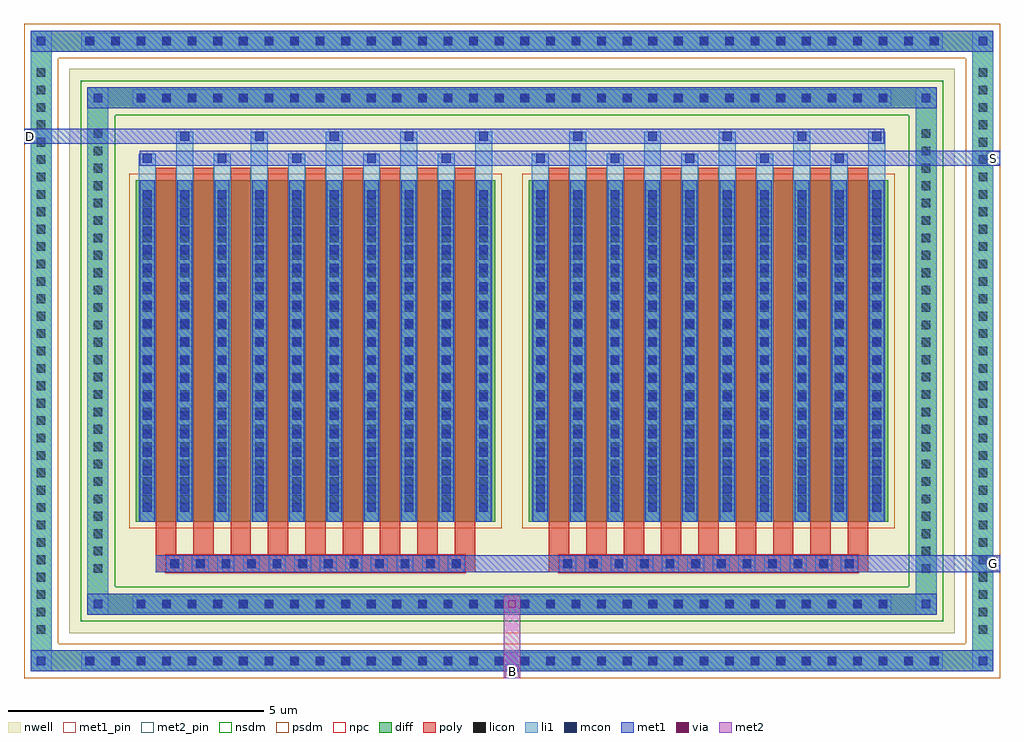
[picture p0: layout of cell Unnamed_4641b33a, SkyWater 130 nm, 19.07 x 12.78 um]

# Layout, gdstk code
import gdstk
lib = gdstk.Library(unit=1e-6, precision=5e-09)
def R(c, l, rs):  # rectangles x0, y0, x1, y1
    for r in rs: c.add(gdstk.rectangle(r[:2], r[2:], *l))
def A(c, l, x, y, w, h, nx, ny, dx, dy):  # array of equal rectangles
    R(c, l, [(x+i*dx, y+j*dy, x+i*dx+w, y+j*dy+h) for i in range(nx) for j in range(ny)])
def P(c, l, *ps):  # polygons
    for p in ps: c.add(gdstk.Polygon(p, *l))
nwell = (64, 20)
diff = (65, 20)
poly = (66, 20)
licon = (66, 44)
li1 = (67, 20)
mcon = (67, 44)
met1_pin = (68, 16)
met1 = (68, 20)
via = (68, 44)
met2_pin = (69, 16)
met2 = (69, 20)
nsdm = (93, 44)
psdm = (94, 20)
npc = (95, 20)

unnamed_4641b33a = lib.new_cell('Unnamed_4641b33a')
R(unnamed_4641b33a, nwell, [(-8.655,-5.51,8.655,5.51), (-8.475,-5.33,8.475,5.33)])
A(unnamed_4641b33a, diff, -8.455, -6.26, 0.41, 0.41, 34, 2, 0.5, 12.11)
A(unnamed_4641b33a, diff, -9.405, -5.645, 0.41, 0.41, 1, 33, 0, 0.34)
A(unnamed_4641b33a, diff, 8.995, -5.645, 0.41, 0.41, 1, 33, 0, 0.34)
A(unnamed_4641b33a, diff, -7.455, -5.15, 0.41, 0.41, 30, 2, 0.5, 9.89)
A(unnamed_4641b33a, diff, -8.295, -4.455, 0.41, 0.41, 1, 26, 0, 0.34)
A(unnamed_4641b33a, diff, 7.885, -4.455, 0.41, 0.41, 1, 26, 0, 0.34)
R(unnamed_4641b33a, diff, [(-8.455,-6.26,8.455,-5.85), (-9.405,-5.645,-8.995,5.645), (8.995,-5.645,9.405,5.645), (-7.455,-5.15,7.455,-4.74), (-8.295,-4.455,-7.885,4.455), (7.885,-4.455,8.295,4.455), (-7.35,-3.335,-0.33,3.335), (0.33,-3.335,7.35,3.335), (-7.455,4.74,7.455,5.15), (-8.455,5.85,8.455,6.26)])
P(unnamed_4641b33a, diff, [(9.405,6.26),(-9.405,6.26),(-9.405,-5.85),(-8.995,-5.85),(-8.995,5.85),(8.995,5.85),(8.995,-5.85),(-8.995,-5.85),(-9.405,-5.85),(-9.405,-6.26),(9.405,-6.26)],
  [(8.295,5.15),(-8.295,5.15),(-8.295,-4.74),(-7.885,-4.74),(-7.885,4.74),(7.885,4.74),(7.885,-4.74),(-7.885,-4.74),(-8.295,-4.74),(-8.295,-5.15),(8.295,-5.15)])
A(unnamed_4641b33a, poly, -6.755, -4.32, 0.33, 0.33, 12, 1, 0.5, 0)
A(unnamed_4641b33a, poly, 0.925, -4.32, 0.33, 0.33, 12, 1, 0.5, 0)
A(unnamed_4641b33a, poly, -6.96, -3.99, 0.4, 0.405, 9, 1, 0.73, 0)
A(unnamed_4641b33a, poly, 0.72, -3.99, 0.4, 0.405, 9, 1, 0.73, 0)
A(unnamed_4641b33a, poly, -6.96, -3.585, 0.4, 7.17, 9, 1, 0.73, 0)
A(unnamed_4641b33a, poly, 0.72, -3.585, 0.4, 7.17, 9, 1, 0.73, 0)
R(unnamed_4641b33a, poly, [(-6.96,-4.32,-0.72,-3.99), (0.72,-4.32,6.96,-3.99)])
A(unnamed_4641b33a, licon, -8.335, -6.14, 0.17, 0.17, 34, 2, 0.5, 12.11)
A(unnamed_4641b33a, licon, -9.285, -5.525, 0.17, 0.17, 1, 33, 0, 0.34)
A(unnamed_4641b33a, licon, 9.115, -5.525, 0.17, 0.17, 1, 33, 0, 0.34)
A(unnamed_4641b33a, licon, -7.335, -5.03, 0.17, 0.17, 30, 2, 0.5, 9.89)
A(unnamed_4641b33a, licon, -8.175, -4.335, 0.17, 0.17, 1, 26, 0, 0.34)
A(unnamed_4641b33a, licon, 8.005, -4.335, 0.17, 0.17, 1, 26, 0, 0.34)
A(unnamed_4641b33a, licon, -6.675, -4.24, 0.17, 0.17, 12, 1, 0.5, 0)
A(unnamed_4641b33a, licon, 1.005, -4.24, 0.17, 0.17, 12, 1, 0.5, 0)
A(unnamed_4641b33a, licon, -7.21, -2.975, 0.17, 0.17, 10, 18, 0.73, 0.34)
A(unnamed_4641b33a, licon, 0.47, -2.975, 0.17, 0.17, 10, 18, 0.73, 0.34)
A(unnamed_4641b33a, li1, -8.415, -6.22, 0.33, 0.33, 34, 2, 0.5, 12.11)
A(unnamed_4641b33a, li1, -9.365, -5.605, 0.33, 0.33, 1, 33, 0, 0.34)
A(unnamed_4641b33a, li1, 9.035, -5.605, 0.33, 0.33, 1, 33, 0, 0.34)
A(unnamed_4641b33a, li1, -7.415, -5.11, 0.33, 0.33, 30, 2, 0.5, 9.89)
A(unnamed_4641b33a, li1, -8.255, -4.415, 0.33, 0.33, 1, 26, 0, 0.34)
A(unnamed_4641b33a, li1, 7.925, -4.415, 0.33, 0.33, 1, 26, 0, 0.34)
A(unnamed_4641b33a, li1, -6.755, -4.32, 0.33, 0.33, 12, 1, 0.5, 0)
A(unnamed_4641b33a, li1, 0.925, -4.32, 0.33, 0.33, 12, 1, 0.5, 0)
A(unnamed_4641b33a, li1, -7.29, -3.335, 0.33, 6.67, 10, 1, 0.73, 0)
A(unnamed_4641b33a, li1, 0.39, -3.335, 0.33, 6.67, 10, 1, 0.73, 0)
A(unnamed_4641b33a, li1, -7.21, -3.145, 0.17, 0.17, 10, 18, 0.73, 0.36)
A(unnamed_4641b33a, li1, -7.21, -3.145, 0.17, 6.29, 10, 1, 0.73, 0)
A(unnamed_4641b33a, li1, 0.47, -3.145, 0.17, 0.17, 10, 18, 0.73, 0.36)
A(unnamed_4641b33a, li1, 0.47, -3.145, 0.17, 6.29, 10, 1, 0.73, 0)
A(unnamed_4641b33a, li1, -7.29, -3.055, 0.33, 0.33, 10, 18, 0.73, 0.34)
A(unnamed_4641b33a, li1, 0.39, -3.055, 0.33, 0.33, 10, 18, 0.73, 0.34)
A(unnamed_4641b33a, li1, -7.29, 3.335, 0.33, 0.515, 5, 1, 1.46, 0)
A(unnamed_4641b33a, li1, -6.56, 3.335, 0.33, 0.945, 5, 1, 1.46, 0)
A(unnamed_4641b33a, li1, 0.39, 3.335, 0.33, 0.515, 5, 1, 1.46, 0)
A(unnamed_4641b33a, li1, 1.12, 3.335, 0.33, 0.945, 5, 1, 1.46, 0)
A(unnamed_4641b33a, li1, -7.21, 3.68, 0.17, 0.17, 5, 1, 1.46, 0)
A(unnamed_4641b33a, li1, 0.47, 3.68, 0.17, 0.17, 5, 1, 1.46, 0)
A(unnamed_4641b33a, li1, -6.48, 4.11, 0.17, 0.17, 5, 1, 1.46, 0)
A(unnamed_4641b33a, li1, 1.2, 4.11, 0.17, 0.17, 5, 1, 1.46, 0)
R(unnamed_4641b33a, li1, [(-9.405,-6.26,-8.995,-5.85), (8.995,-6.26,9.405,-5.85), (-8.415,-6.22,8.415,-5.89), (-9.285,-6.14,-9.115,-5.97), (-9.285,-6.14,-9.115,-5.97), (9.115,-6.14,9.285,-5.97), (9.115,-6.14,9.285,-5.97), (-9.405,-5.85,-8.995,5.85), (8.995,-5.85,9.405,5.85), (-8.295,-5.15,-7.885,-4.74), (7.885,-5.15,8.295,-4.74), (-7.415,-5.11,7.415,-4.78), (-8.175,-5.03,-8.005,-4.86), (-8.175,-5.03,-8.005,-4.86), (8.005,-5.03,8.175,-4.86), (8.005,-5.03,8.175,-4.86), (-8.295,-4.74,-7.885,4.74), (7.885,-4.74,8.295,4.74), (-8.295,4.74,-7.885,5.15), (7.885,4.74,8.295,5.15), (-7.415,4.78,7.415,5.11), (-8.175,4.86,-8.005,5.03), (-8.175,4.86,-8.005,5.03), (8.005,4.86,8.175,5.03), (8.005,4.86,8.175,5.03), (-9.405,5.85,-8.995,6.26), (8.995,5.85,9.405,6.26), (-8.415,5.89,8.415,6.22), (-9.285,5.97,-9.115,6.14), (-9.285,5.97,-9.115,6.14), (9.115,5.97,9.285,6.14), (9.115,5.97,9.285,6.14)])
A(unnamed_4641b33a, mcon, -8.335, -6.14, 0.17, 0.17, 34, 2, 0.5, 12.11)
A(unnamed_4641b33a, mcon, -7.335, -5.03, 0.17, 0.17, 30, 2, 0.5, 9.89)
A(unnamed_4641b33a, mcon, -6.675, -4.24, 0.17, 0.17, 12, 1, 0.5, 0)
A(unnamed_4641b33a, mcon, 1.005, -4.24, 0.17, 0.17, 12, 1, 0.5, 0)
A(unnamed_4641b33a, mcon, -7.21, -3.145, 0.17, 0.17, 10, 18, 0.73, 0.36)
A(unnamed_4641b33a, mcon, 0.47, -3.145, 0.17, 0.17, 10, 18, 0.73, 0.36)
A(unnamed_4641b33a, mcon, -7.21, 3.68, 0.17, 0.17, 5, 1, 1.46, 0)
A(unnamed_4641b33a, mcon, 0.47, 3.68, 0.17, 0.17, 5, 1, 1.46, 0)
A(unnamed_4641b33a, mcon, -6.48, 4.11, 0.17, 0.17, 5, 1, 1.46, 0)
A(unnamed_4641b33a, mcon, 1.2, 4.11, 0.17, 0.17, 5, 1, 1.46, 0)
R(unnamed_4641b33a, mcon, [(-9.285,-6.14,-9.115,-5.97), (9.115,-6.14,9.285,-5.97), (-8.175,-5.03,-8.005,-4.86), (8.005,-5.03,8.175,-4.86), (-8.175,4.86,-8.005,5.03), (8.005,4.86,8.175,5.03), (-9.285,5.97,-9.115,6.14), (9.115,5.97,9.285,6.14)])
R(unnamed_4641b33a, met1_pin, [(9.265,-4.29,9.535,-4.02), (9.265,3.63,9.535,3.9), (-9.535,4.06,-9.265,4.33)])
A(unnamed_4641b33a, met1, -8.395, -6.2, 0.29, 0.29, 34, 2, 0.5, 12.11)
A(unnamed_4641b33a, met1, -7.395, -5.09, 0.29, 0.29, 30, 2, 0.5, 9.89)
A(unnamed_4641b33a, met1, -6.735, -4.3, 0.29, 0.29, 12, 1, 0.5, 0)
A(unnamed_4641b33a, met1, 0.945, -4.3, 0.29, 0.29, 12, 1, 0.5, 0)
A(unnamed_4641b33a, met1, -7.27, -3.335, 0.29, 6.67, 10, 1, 0.73, 0)
A(unnamed_4641b33a, met1, 0.41, -3.335, 0.29, 6.67, 10, 1, 0.73, 0)
A(unnamed_4641b33a, met1, -7.27, -3.205, 0.29, 0.29, 10, 18, 0.73, 0.36)
A(unnamed_4641b33a, met1, 0.41, -3.205, 0.29, 0.29, 10, 18, 0.73, 0.36)
A(unnamed_4641b33a, met1, -7.27, 3.62, 0.29, 0.29, 5, 1, 1.46, 0)
A(unnamed_4641b33a, met1, 0.41, 3.62, 0.29, 0.29, 5, 1, 1.46, 0)
A(unnamed_4641b33a, met1, -6.54, 4.05, 0.29, 0.29, 5, 1, 1.46, 0)
A(unnamed_4641b33a, met1, 1.14, 4.05, 0.29, 0.29, 5, 1, 1.46, 0)
R(unnamed_4641b33a, met1, [(-9.405,-6.26,-8.995,-5.85), (-9.405,-6.26,-8.995,-5.85), (-8.995,-6.26,8.995,-5.85), (8.995,-6.26,9.405,-5.85), (8.995,-6.26,9.405,-5.85), (-9.345,-6.2,-9.055,-5.91), (9.055,-6.2,9.345,-5.91), (-8.295,-5.15,-7.885,-4.74), (-8.295,-5.15,-7.885,-4.74), (-7.885,-5.15,7.885,-4.74), (7.885,-5.15,8.295,-4.74), (7.885,-5.15,8.295,-4.74), (-8.235,-5.09,-7.945,-4.8), (7.945,-5.09,8.235,-4.8), (-6.96,-4.32,-0.72,-3.99), (-0.72,-4.32,0.72,-3.99), (0.72,-4.32,6.96,-3.99), (6.96,-4.32,9.535,-3.99), (-7.27,3.62,-0.41,3.91), (-0.41,3.62,0.41,3.91), (0.41,3.62,7.27,3.91), (7.27,3.62,9.535,3.91), (-9.535,4.05,-7.27,4.34), (-7.27,4.05,-0.41,4.34), (-0.41,4.05,0.41,4.34), (0.41,4.05,7.27,4.34), (-8.295,4.74,-7.885,5.15), (-8.295,4.74,-7.885,5.15), (-7.885,4.74,7.885,5.15), (7.885,4.74,8.295,5.15), (7.885,4.74,8.295,5.15), (-8.235,4.8,-7.945,5.09), (7.945,4.8,8.235,5.09), (-9.405,5.85,-8.995,6.26), (-9.405,5.85,-8.995,6.26), (-8.995,5.85,8.995,6.26), (8.995,5.85,9.405,6.26), (8.995,5.85,9.405,6.26), (-9.345,5.91,-9.055,6.2), (9.055,5.91,9.345,6.2)])
R(unnamed_4641b33a, via, [(-0.075,-5.02,0.075,-4.87)])
R(unnamed_4641b33a, met2_pin, [(-0.135,-6.39,0.135,-6.12)])
R(unnamed_4641b33a, met2, [(-0.165,-6.39,0.165,-4.78), (-0.165,-5.11,0.165,-4.78)])
P(unnamed_4641b33a, nsdm, [(8.425,5.28),(-8.425,5.28),(-8.425,-4.61),(-7.755,-4.61),(-7.755,4.61),(7.755,4.61),(7.755,-4.61),(-7.755,-4.61),(-8.425,-4.61),(-8.425,-5.28),(8.425,-5.28)])
R(unnamed_4641b33a, psdm, [(-7.48,-3.465,-0.2,3.465), (0.2,-3.465,7.48,3.465)])
P(unnamed_4641b33a, psdm, [(9.535,6.39),(-9.535,6.39),(-9.535,-5.72),(-8.865,-5.72),(-8.865,5.72),(8.865,5.72),(8.865,-5.72),(-8.865,-5.72),(-9.535,-5.72),(-9.535,-6.39),(9.535,-6.39)])
A(unnamed_4641b33a, npc, -6.775, -4.34, 0.37, 0.37, 12, 1, 0.5, 0)
A(unnamed_4641b33a, npc, 0.905, -4.34, 0.37, 0.37, 12, 1, 0.5, 0)
R(unnamed_4641b33a, npc, [(-6.775,-4.34,-5.905,-3.97), (-6.775,-4.34,-5.905,-3.97), (-6.275,-4.34,-5.405,-3.97), (-6.275,-4.34,-5.405,-3.97), (-5.775,-4.34,-4.905,-3.97), (-5.775,-4.34,-4.905,-3.97), (-5.275,-4.34,-4.405,-3.97), (-5.275,-4.34,-4.405,-3.97), (-4.775,-4.34,-3.905,-3.97), (-4.775,-4.34,-3.905,-3.97), (-4.275,-4.34,-3.405,-3.97), (-4.275,-4.34,-3.405,-3.97), (-3.775,-4.34,-2.905,-3.97), (-3.775,-4.34,-2.905,-3.97), (-3.275,-4.34,-2.405,-3.97), (-3.275,-4.34,-2.405,-3.97), (-2.775,-4.34,-1.905,-3.97), (-2.775,-4.34,-1.905,-3.97), (-2.275,-4.34,-1.405,-3.97), (-2.275,-4.34,-1.405,-3.97), (-1.775,-4.34,-0.905,-3.97), (-1.775,-4.34,-0.905,-3.97), (0.905,-4.34,1.775,-3.97), (0.905,-4.34,1.775,-3.97), (1.405,-4.34,2.275,-3.97), (1.405,-4.34,2.275,-3.97), (1.905,-4.34,2.775,-3.97), (1.905,-4.34,2.775,-3.97), (2.405,-4.34,3.275,-3.97), (2.405,-4.34,3.275,-3.97), (2.905,-4.34,3.775,-3.97), (2.905,-4.34,3.775,-3.97), (3.405,-4.34,4.275,-3.97), (3.405,-4.34,4.275,-3.97), (3.905,-4.34,4.775,-3.97), (3.905,-4.34,4.775,-3.97), (4.405,-4.34,5.275,-3.97), (4.405,-4.34,5.275,-3.97), (4.905,-4.34,5.775,-3.97), (4.905,-4.34,5.775,-3.97), (5.405,-4.34,6.275,-3.97), (5.405,-4.34,6.275,-3.97), (5.905,-4.34,6.775,-3.97), (5.905,-4.34,6.775,-3.97)])
unnamed_4641b33a.add(gdstk.Label('D', (-9.4,4.195), layer=68, texttype=5))
unnamed_4641b33a.add(gdstk.Label('S', (9.4,3.765), layer=68, texttype=5))
unnamed_4641b33a.add(gdstk.Label('G', (9.4,-4.155), layer=68, texttype=5))
unnamed_4641b33a.add(gdstk.Label('B', (0,-6.255), layer=69, texttype=5))

lib.write_gds('Unnamed_4641b33a.gds')
